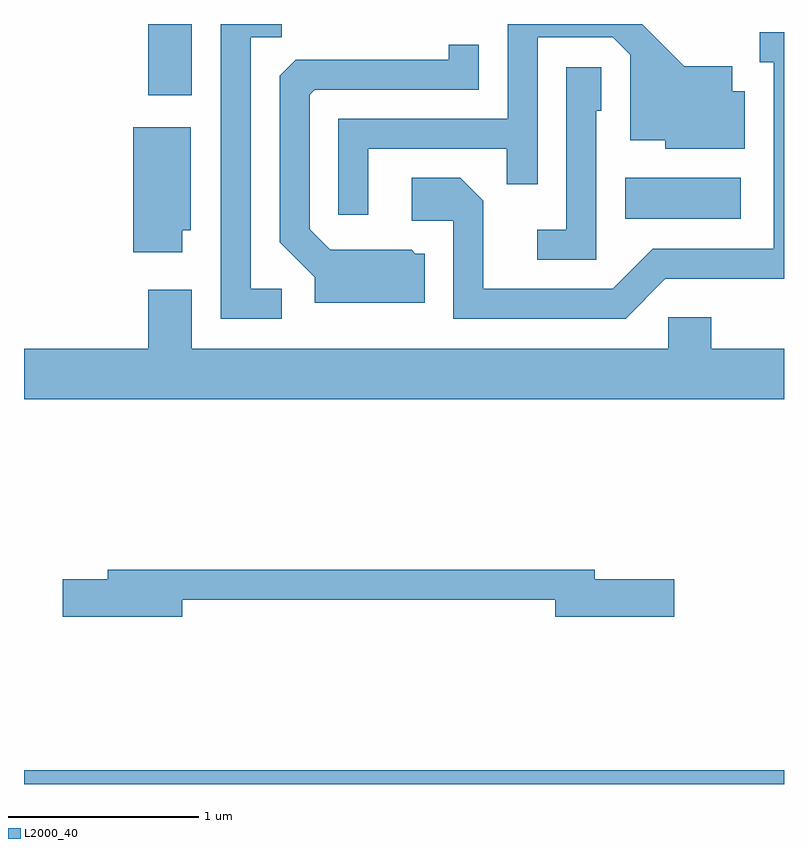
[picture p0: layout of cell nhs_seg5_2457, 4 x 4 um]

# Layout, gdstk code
import gdstk
lib = gdstk.Library(unit=1e-6, precision=1e-09)
def R(c, l, rs):  # rectangles x0, y0, x1, y1
    for r in rs: c.add(gdstk.rectangle(r[:2], r[2:], *l))
def P(c, l, *ps):  # polygons
    for p in ps: c.add(gdstk.Polygon(p, *l))
L2000_40 = (2000, 40)

nhs_seg5_2457 = lib.new_cell('nhs_seg5_2457')
R(nhs_seg5_2457, L2000_40, [(257.611,1488.072,261.611,1488.144), (260.776,1491.046,261.384,1491.264), (258.266,1491.696,258.494,1492.072)])
P(nhs_seg5_2457, L2000_40, [(258.968,1490.679),(258.804,1490.679),(258.804,1492.001),(258.968,1492.001),(258.968,1492.072),(258.646,1492.072),(258.646,1490.521),(258.968,1490.521)],
  [(259.424,1491.416),(260.151,1491.416),(260.151,1491.228),(260.314,1491.228),(260.314,1492.001),(260.709,1492.001),(260.801,1491.909),(260.801,1491.461),(260.986,1491.461),(260.986,1491.416),(261.404,1491.416),(261.404,1491.719),(261.339,1491.719),(261.339,1491.849),(261.087,1491.849),(260.864,1492.072),(260.156,1492.072),(260.156,1491.574),(259.266,1491.574),(259.266,1491.068),(259.424,1491.068)],
  [(260.986,1490.731),(261.611,1490.731),(261.611,1492.029),(261.483,1492.029),(261.483,1491.871),(261.556,1491.871),(261.556,1490.889),(260.919,1490.889),(260.709,1490.679),(260.029,1490.679),(260.029,1491.142),(259.907,1491.264),(259.651,1491.264),(259.651,1491.036),(259.871,1491.036),(259.871,1490.521),(260.777,1490.521)],
  [(259.719,1490.864),(259.671,1490.864),(259.652,1490.884),(259.222,1490.884),(259.114,1490.992),(259.114,1491.699),(259.142,1491.726),(260.004,1491.726),(260.004,1491.963),(259.846,1491.963),(259.846,1491.884),(259.041,1491.884),(258.956,1491.799),(258.956,1490.924),(259.141,1490.739),(259.141,1490.606),(259.719,1490.606)],
  [(260.624,1491.616),(260.649,1491.616),(260.649,1491.844),(260.466,1491.844),(260.466,1490.989),(260.313,1490.989),(260.313,1490.831),(260.624,1490.831)],
  [(258.444,1490.986),(258.489,1490.986),(258.489,1491.529),(258.186,1491.529),(258.186,1490.871),(258.444,1490.871)],
  [(261.611,1490.364),(261.229,1490.364),(261.229,1490.529),(261.001,1490.529),(261.001,1490.364),(258.494,1490.364),(258.494,1490.674),(258.266,1490.674),(258.266,1490.364),(257.611,1490.364),(257.611,1490.096),(261.611,1490.096)],
  [(258.444,1489.041),(260.406,1489.041),(260.406,1488.951),(261.034,1488.951),(261.034,1489.149),(260.614,1489.149),(260.614,1489.199),(258.051,1489.199),(258.051,1489.149),(257.816,1489.149),(257.816,1488.951),(258.444,1488.951)])

lib.write_gds('nhs_seg5_2457.gds')
